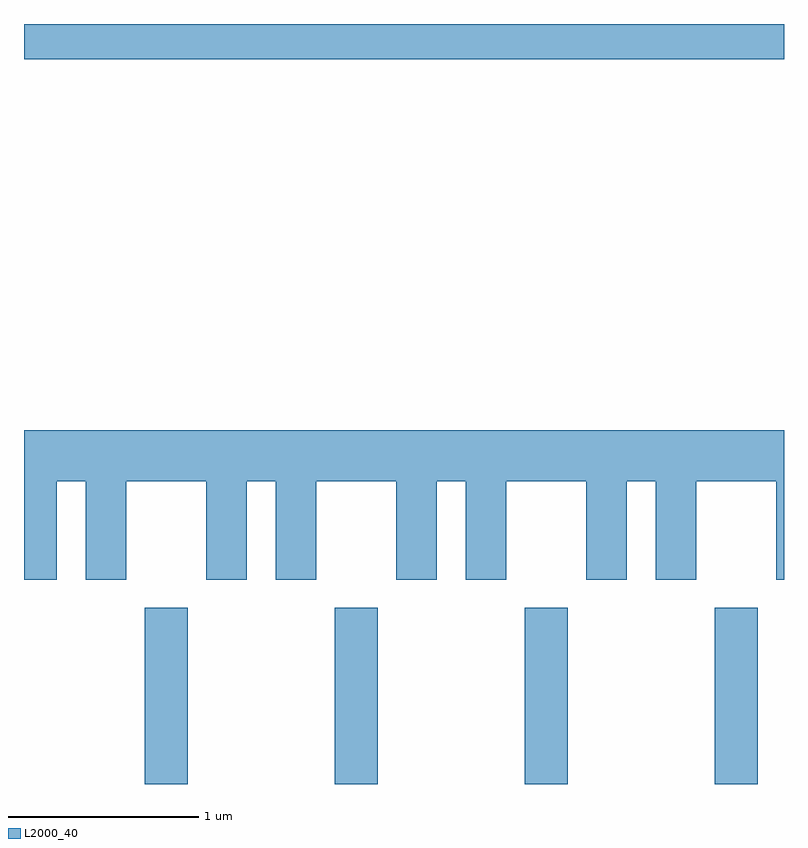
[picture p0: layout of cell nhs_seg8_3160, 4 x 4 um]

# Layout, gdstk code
import gdstk
lib = gdstk.Library(unit=1e-6, precision=1e-09)
def R(c, l, rs):  # rectangles x0, y0, x1, y1
    for r in rs: c.add(gdstk.rectangle(r[:2], r[2:], *l))
def A(c, l, x, y, w, h, nx, ny, dx, dy):  # array of equal rectangles
    R(c, l, [(x+i*dx, y+j*dy, x+i*dx+w, y+j*dy+h) for i in range(nx) for j in range(ny)])
def P(c, l, *ps):  # polygons
    for p in ps: c.add(gdstk.Polygon(p, *l))
L2000_40 = (2000, 40)

nhs_seg8_3160 = lib.new_cell('nhs_seg8_3160')
A(nhs_seg8_3160, L2000_40, 280.246, 1870.342, 0.228, 0.927, 4, 1, 1, 0)
R(nhs_seg8_3160, L2000_40, [(279.611,1874.156,283.611,1874.342)])
P(nhs_seg8_3160, L2000_40, [(279.784,1871.936),(279.936,1871.936),(279.936,1871.416),(280.149,1871.416),(280.149,1871.936),(280.571,1871.936),(280.571,1871.416),(280.784,1871.416),(280.784,1871.936),(280.936,1871.936),(280.936,1871.416),(281.149,1871.416),(281.149,1871.936),(281.571,1871.936),(281.571,1871.416),(281.784,1871.416),(281.784,1871.936),(281.936,1871.936),(281.936,1871.416),(282.149,1871.416),(282.149,1871.936),(282.571,1871.936),(282.571,1871.416),(282.784,1871.416),(282.784,1871.936),(282.936,1871.936),(282.936,1871.416),(283.149,1871.416),(283.149,1871.936),(283.571,1871.936),(283.571,1871.416),(283.611,1871.416),(283.611,1872.204),(279.611,1872.204),(279.611,1871.416),(279.784,1871.416)])

lib.write_gds('nhs_seg8_3160.gds')
